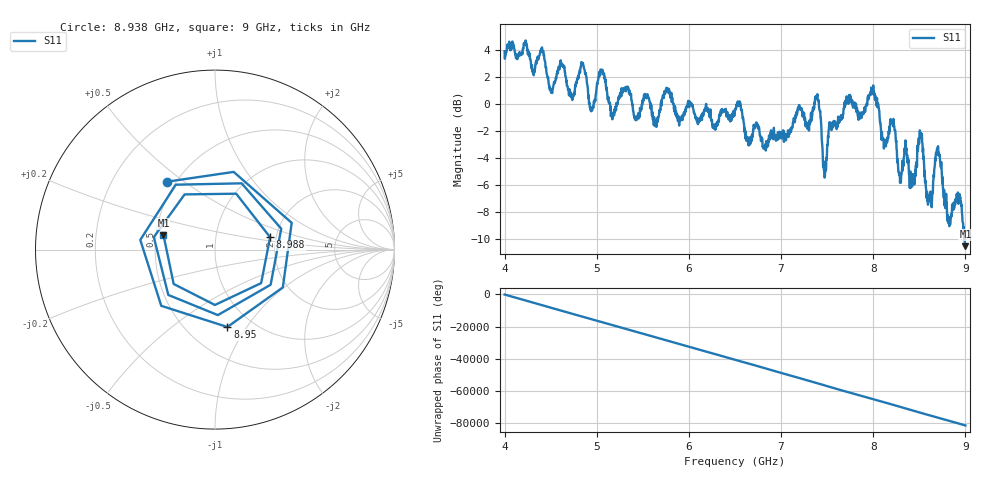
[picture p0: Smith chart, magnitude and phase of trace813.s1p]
! Created with skrf 1.8.0 (http://scikit-rf.org).
# Hz S RI R 50.0
!freq ReS11 ImS11
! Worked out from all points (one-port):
!   1601 points, 4 GHz to 9 GHz, reference 50 ohm
!   lowest |S11| = -10.5 dB at 9 GHz (marker M1), VSWR 1.85, Z = 27.4 + j4.86 ohm
!   |S11| at or under -10 dB: 8.987667 GHz to 8.989491 GHz (1.824 MHz wide, 0.0203 % of centre); 8.991484 GHz to end of sweep
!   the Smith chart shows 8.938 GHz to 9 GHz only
!   S11 on the Smith chart (normalised r, x): 8.938 GHz: 0.45, +0.43; 8.95 GHz: 0.77, -0.82; 8.988 GHz: 1.86, +0.28; 9 GHz: 0.55, +0.10
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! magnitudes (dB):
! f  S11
! 4 GHz  3.9
! 4.625 GHz  2.8
! 4.734 GHz  0.3
! 4.853 GHz  2.9
! 4.941 GHz  -0.3
! 5.05 GHz  2.4
! 5.172 GHz  -0.7
! 5.25 GHz  0.6
! 5.875 GHz  -1.0
! 6.5 GHz  -0.4
! 6.825 GHz  -3.1
! 7.125 GHz  -1.7
! 7.388 GHz  0.6
! 7.475 GHz  -5.4
! 7.75 GHz  0.4
! 7.997 GHz  1.0
! 8.112 GHz  -2.6
! 8.216 GHz  -1.6
! 8.284 GHz  -5.3
! 8.375 GHz  -4.0
! 8.516 GHz  -2.2
! 8.609 GHz  -6.8
! 8.697 GHz  -3.3
! 8.825 GHz  -9.0
! 8.938 GHz  -6.7
! 8.95 GHz  -7.2
! 8.988 GHz  -10.0
! 9 GHz  -10.5
